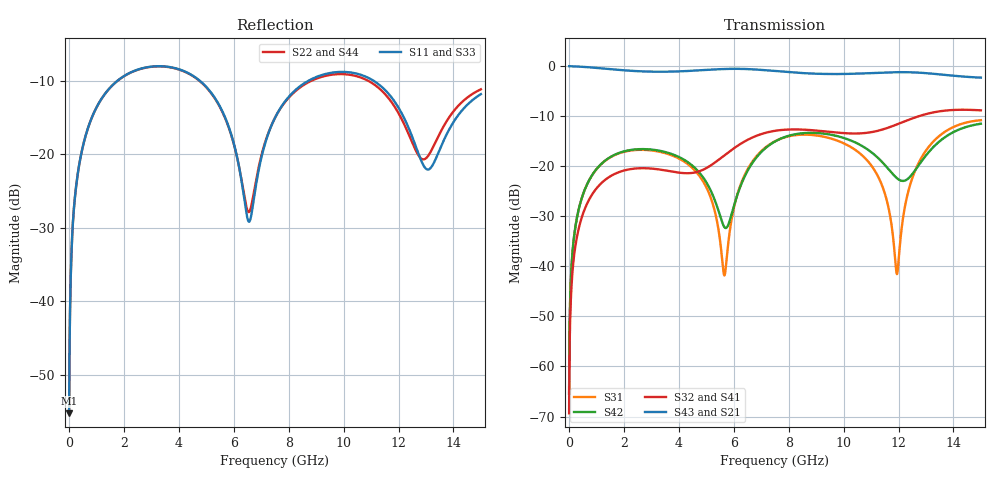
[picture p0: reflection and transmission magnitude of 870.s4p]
! Created with skrf 1.8.0 (http://scikit-rf.org).
# GHz S RI R 50.0
!freq ReS11 ImS11 ReS12 ImS12 ReS13 ImS13
! ReS14 ImS14
! ReS21 ImS21 ReS22 ImS22 ReS23 ImS23
! ReS24 ImS24
! ReS31 ImS31 ReS32 ImS32 ReS33 ImS33
! ReS34 ImS34
! ReS41 ImS41 ReS42 ImS42 ReS43 ImS43
! ReS44 ImS44
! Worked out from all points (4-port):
!   2499 points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, 5 MHz to 15 GHz, reference 50 ohm
!   strongest paths, dB at 5 MHz, 3.476 GHz, 7.19 GHz, 11.1 GHz, 15 GHz:
!     S43: 0.0, -1.1, -0.8, -1.4, -2.3
!     S21: 0.0, -1.1, -0.8, -1.4, -2.3
!     S32: -69.4, -20.8, -13.3, -13.1, -8.8
!     S41: -69.4, -20.8, -13.3, -13.1, -8.9
!     S42: -65.5, -17.1, -16.2, -17.6, -11.5
!     S31: -65.5, -17.3, -16.1, -20.6, -10.8
!   lowest |S11| = -55.2 dB at 5 MHz (marker M1), VSWR 1.00, Z = 50.1 + j0.105 ohm
!   |S11| at or under -10 dB: start of sweep to 1.758 GHz; 4.771 GHz to 8.71 GHz (3.939 GHz wide, 58.4 % of centre); 11.1 GHz to end of sweep
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0.005  0.00138 0.00105  0.9986 -0.00268  6.78e-05 0.000529  -6.6e-05 -0.000334
       0.9986 -0.00268  0.00138 0.00105  -6.6e-05 -0.000334  6.79e-05 0.000529
       6.78e-05 0.000529  -6.6e-05 -0.000334  0.00138 0.00105  0.9986 -0.00268
       -6.6e-05 -0.000334  6.79e-05 0.000529  0.9986 -0.00268  0.00138 0.00105
0.3626511  0.0224 0.08  0.9693 -0.1933  0.00996 0.0366  -0.00844 -0.0228
           0.9693 -0.1933  0.0223 0.08  -0.00844 -0.0228  0.0103 0.0365
           0.00996 0.0366  -0.00844 -0.0228  0.0224 0.08  0.9693 -0.1933
           -0.00844 -0.0228  0.0103 0.0365  0.9693 -0.1933  0.0223 0.08
1.67  0.2404 0.1896  0.6137 -0.6905  0.11 0.0682  -0.0822 -0.0164
      0.6137 -0.6905  0.2392 0.1903  -0.0823 -0.0164  0.1136 0.0641
      0.11 0.0682  -0.0823 -0.0164  0.2403 0.1896  0.6137 -0.6905
      -0.0822 -0.0164  0.1136 0.0641  0.6137 -0.6905  0.2392 0.1902
5.658608  0.0991 -0.1542  -0.8187 -0.4523  -0.00744 -0.00322  -0.0586 0.1141
          -0.8187 -0.4523  0.1036 -0.1491  -0.0583 0.1143  -0.0212 -0.0126
          -0.00744 -0.00322  -0.0583 0.1143  0.0981 -0.1531  -0.8191 -0.4524
          -0.0586 0.1141  -0.0212 -0.0126  -0.8191 -0.4524  0.1031 -0.1477
6.440183  0.0339 -0.025  -0.9303 -0.0958  -0.000624 0.0862  -0.016 0.1788
          -0.9303 -0.0958  0.0398 -0.0226  -0.0156 0.1789  -0.00947 0.0829
          -0.000624 0.0862  -0.0156 0.1789  0.0333 -0.0235  -0.9304 -0.0957
          -0.016 0.1788  -0.00947 0.0829  -0.9304 -0.0957  0.0401 -0.0209
11.94248  0.1528 -0.1534  0.6592 0.5666  -0.00755 -0.00361  0.1651 -0.2028
          0.6592 0.5666  0.154 -0.1264  0.164 -0.2038  -0.0552 -0.0522
          -0.00755 -0.00361  0.164 -0.2038  0.1519 -0.1513  0.6584 0.5684
          0.1651 -0.2028  -0.0552 -0.0522  0.6584 0.5684  0.1527 -0.1247
15  0.2463 0.0739  0.5689 -0.5136  0.2697 0.1016  -0.3008 -0.1993
    0.5689 -0.5136  0.2687 0.0686  -0.3024 -0.1981  0.2424 0.1089
    0.2697 0.1016  -0.3024 -0.1981  0.243 0.0749  0.5726 -0.5106
    -0.3008 -0.1993  0.2424 0.1089  0.5726 -0.5106  0.2681 0.0689
